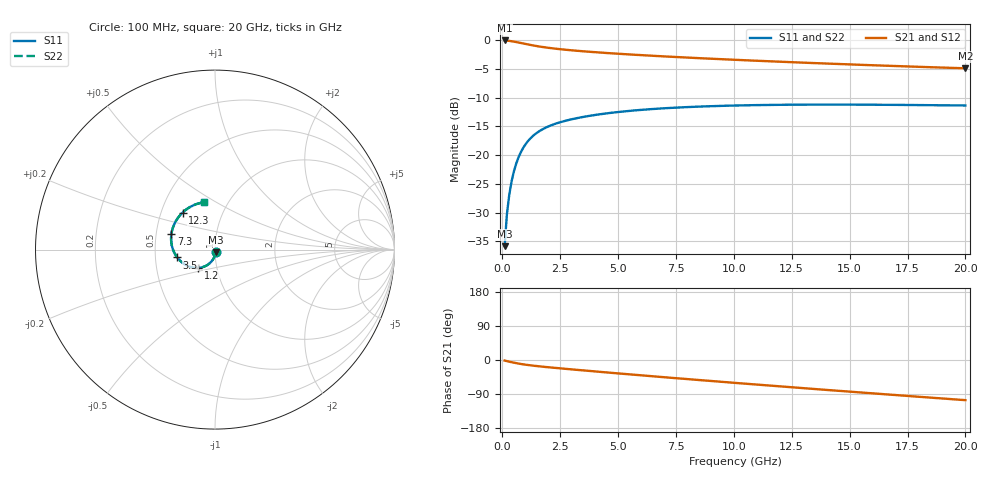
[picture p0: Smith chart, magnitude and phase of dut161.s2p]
! Touchstone file exported from HFSS 2023.1.0
!  File:  D:/Users/fzz/RDL_TSV/temp_RDL_TSV_161_1778753549.aedt
!  Generated:  6:19:14 %x4E0B%x5348  5%x6708 14, 2026
!  Design:  RDL_TSV
!  Project:  temp_RDL_TSV_161_1778753549
!  Setup:  Setup1
!  Solution:  Sweep
! Variables:
!  dtsv = 21.83um
!  hbump = 3um
!  htsv = 80.33um
!  ldown = 110.95um
!  lrdl = 126.07um
!  p = 40
!  p1 = 51.56um
!  rhole = 10um
!  subl = 837.13um
!  t = 450um
!  tdown = 2.59um
!  trdl = 4.11um
!  viad = 10um
!  wdown = 26.13um
!  wrdl = 14.33um
!  xbump = 18um
# GHz S MA R 50.000000
! Terminal data exported
! Port[1] = TM1_1_T1
! Port[2] = TM1_4_T1
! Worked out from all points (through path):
!   200 points, 100 MHz to 20 GHz, reference 50 ohm
!   highest |S21| = -0.06 dB at 100 MHz (marker M1); lowest = -4.9 dB at 20 GHz (marker M2)
!   group delay of S21, straight-line fit = 13.6 ps
!   lowest |S11| = -35.8 dB at 100 MHz (marker M3), VSWR 1.03, Z = 50.4 - j1.57 ohm
!   |S11| at or under -10 dB: start of sweep to end of sweep
!   |S22| runs from -35.8 to -11.2 dB; largest |S21 - S12| = 6.7e-15
!   S11 on the Smith chart (normalised r, x): 100 MHz: 1.01, -0.03; 1.2 GHz: 0.81, -0.17; 3.5 GHz: 0.65, -0.06; 7.3 GHz: 0.60, +0.11; 12.3 GHz: 0.64, +0.29; 20 GHz: 0.78, +0.44
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0.1  0.01614 -74.9  0.9935 -1.5  0.9935 -1.5  0.01614 -74.9
! Gamma 0 0 0 0
! Port Impedance 50 0 50 0
0.2  0.03067 -89.0  0.9902 -3.0  0.9902 -3.0  0.03067 -89.0
0.3  0.04508 -96.7  0.9852 -4.4  0.9852 -4.4  0.04508 -96.7
0.4  0.05893 -102.7  0.9787 -5.8  0.9787 -5.8  0.05893 -102.7
0.5  0.07202 -107.7  0.9711 -7.1  0.9711 -7.1  0.07202 -107.7
0.6  0.08423 -112.2  0.9627 -8.3  0.9627 -8.3  0.08423 -112.2
0.7  0.09551 -116.3  0.9537 -9.4  0.9537 -9.4  0.09551 -116.3
0.8  0.1059 -120.1  0.9445 -10.5  0.9445 -10.5  0.1059 -120.1
1  0.1239 -126.9  0.9263 -12.3  0.9263 -12.3  0.1239 -126.9
1.2  0.1388 -132.7  0.9093 -14.0  0.9093 -14.0  0.1388 -132.7
1.6  0.1616 -142.1  0.88 -16.8  0.88 -16.8  0.1616 -142.1
2.1  0.1813 -151.1  0.8517 -19.8  0.8517 -19.8  0.1813 -151.1
2.7  0.1982 -159.4  0.826 -23.2  0.826 -23.2  0.1983 -159.4
3.5  0.2149 -168.3  0.7995 -27.5  0.7995 -27.5  0.215 -168.3
5.1  0.2381 177.2  0.759 -35.9  0.759 -35.9  0.2382 177.2
6.8  0.2541 164.2  0.7252 -44.5  0.7252 -44.5  0.2542 164.2
7.3  0.2576 160.7  0.7164 -47.0  0.7164 -47.0  0.2577 160.6
10.1  0.2701 143.0  0.6735 -60.6  0.6735 -60.6  0.2703 142.9
12.3  0.2742 131.2  0.6451 -71.0  0.6451 -71.0  0.2744 131.2
13.4  0.2749 126.0  0.6322 -76.2  0.6322 -76.2  0.2752 125.9
16.7  0.2737 112.7  0.5978 -91.2  0.5978 -91.2  0.2741 112.6
20  0.2701 102.6  0.5689 -106.0  0.5689 -106.0  0.2705 102.5
